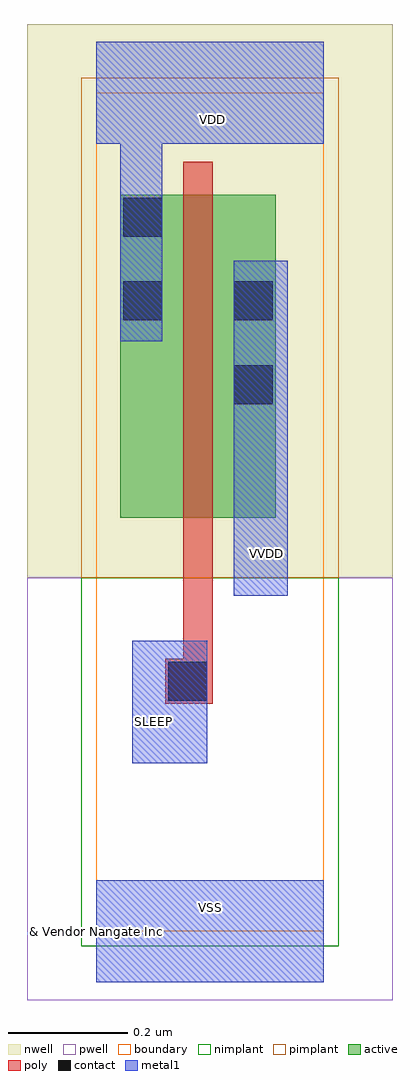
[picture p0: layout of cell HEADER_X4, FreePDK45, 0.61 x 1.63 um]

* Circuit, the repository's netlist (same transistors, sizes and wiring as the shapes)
* 
* ******************************************************************************
* *                                                                            *
* *                   Copyright (C) 2004-2011, Nangate Inc.                    *
* *                           All rights reserved.                             *
* *                                                                            *
* * Nangate and the Nangate logo are trademarks of Nangate Inc.                *
* *                                                                            *
* * All trademarks, logos, software marks, and trade names (collectively the   *
* * "Marks") in this program are proprietary to Nangate or other respective    *
* * owners that have granted Nangate the right and license to use such Marks.  *
* * You are not permitted to use the Marks without the prior written consent   *
* * of Nangate or such third party that may own the Marks.                     *
* *                                                                            *
* * This file has been provided pursuant to a License Agreement containing     *
* * restrictions on its use. This file contains valuable trade secrets and     *
* * proprietary information of Nangate Inc., and is protected by U.S. and      *
* * international laws and/or treaties.                                        *
* *                                                                            *
* * The copyright notice(s) in this file does not indicate actual or intended  *
* * publication of this file.                                                  *
* *                                                                            *
* *     NGLibraryCreator, v2010.08-HR32-SP3-2010-08-05 - build 1009061800      *
* *                                                                            *
* ******************************************************************************
* 
* 
* Running on server08.nangate.com for user Giancarlo Franciscatto (gfr).
* Local time is now Thu, 6 Jan 2011, 19:45:44.
* Main process id is 3320.
*
********************************************************************************
*                                                                              *
* Cellname:   HEADER_X4.                                                       *
*                                                                              *
* Technology: NCSU FreePDK 45nm.                                               *
* Format:     Cdl.                                                             *
*                                                                              *
* Written on server08.nangate.com for user Giancarlo Franciscatto (gfr)        *
* at 19:45:44 on Thu, 6 Jan 2011.                                              *
*                                                                              *
********************************************************************************
.SUBCKT HEADER_X4 SLEEP VDD VSS VVDD 
*.PININFO SLEEP:I VDD:P VSS:G VVDD:P 
M_i_0 VVDD SLEEP VDD VDD PMOS_VTL W=0.540000U L=0.050000U
.ENDS 

********************************************************************************
*
* END
*
********************************************************************************

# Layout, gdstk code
import gdstk
lib = gdstk.Library(unit=1e-6, precision=1e-10)
def R(c, l, rs):  # rectangles x0, y0, x1, y1
    for r in rs: c.add(gdstk.rectangle(r[:2], r[2:], *l))
def P(c, l, *ps):  # polygons
    for p in ps: c.add(gdstk.Polygon(p, *l))
active = (1, 0)
pwell = (2, 0)
nwell = (3, 0)
nimplant = (4, 0)
pimplant = (5, 0)
poly = (9, 0)
contact = (10, 0)
metal1 = (11, 0)
boundary = (235, 0)

header_x4 = lib.new_cell('HEADER_X4')
R(header_x4, active, [(0.04,0.69,0.3,1.23)])
R(header_x4, pwell, [(-0.115,-0.115,0.495,0.59)])
R(header_x4, nwell, [(-0.115,0.59,0.495,1.515)])
R(header_x4, nimplant, [(-0.025,-0.025,0.405,0.59)])
R(header_x4, pimplant, [(-0.025,0.59,0.405,1.425)])
P(header_x4, poly, [(0.115,0.38),(0.195,0.38),(0.195,1.285),(0.145,1.285),(0.145,0.455),(0.115,0.455)])
R(header_x4, contact, [(0.12,0.385,0.185,0.45), (0.23,0.88,0.295,0.945), (0.045,1.02,0.11,1.085), (0.23,1.02,0.295,1.085), (0.045,1.16,0.11,1.225)])
R(header_x4, metal1, [(0,-0.085,0.38,0.085), (0.06,0.28,0.185,0.485), (0.23,0.56,0.32,1.12)])
P(header_x4, metal1, [(0,1.315),(0.04,1.315),(0.04,0.985),(0.11,0.985),(0.11,1.315),(0.38,1.315),(0.38,1.485),(0,1.485)])
R(header_x4, boundary, [(0,0,0.38,1.4)])
header_x4.add(gdstk.Label('VDD', (0.195,1.355), layer=11, texttype=0))
header_x4.add(gdstk.Label('VSS', (0.19,0.04), layer=11, texttype=0))
header_x4.add(gdstk.Label('SLEEP', (0.095,0.35), layer=11, texttype=0))
header_x4.add(gdstk.Label('VVDD', (0.285,0.63), layer=11, texttype=0))
header_x4.add(gdstk.Label('& Vendor Nangate Inc', (0,0), layer=63, texttype=63))
header_x4.add(gdstk.Label('& Product Open Cell Library', (0,0), layer=63, texttype=63))
header_x4.add(gdstk.Label('& Version 2010_12', (0,0), layer=63, texttype=63))
header_x4.add(gdstk.Label('& Instance HEADER_X4', (0,0), layer=63, texttype=63))

lib.write_gds('HEADER_X4.gds')
